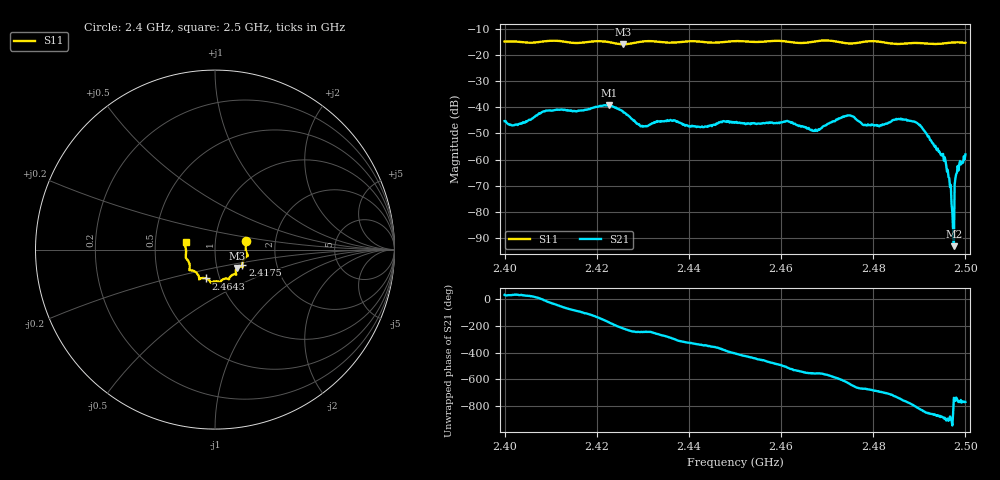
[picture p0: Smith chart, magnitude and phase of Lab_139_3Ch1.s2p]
# Hz S RI R 50
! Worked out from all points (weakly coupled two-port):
!   601 points, 2.4 GHz to 2.5 GHz, reference 50 ohm
!   highest |S21| = -39.22 dB at 2.4227 GHz (marker M1); lowest = -93.1 dB at 2.4975 GHz (marker M2)
!   lowest |S11| = -16.0 dB at 2.4257 GHz (marker M3), VSWR 1.38, Z = 62.4 - j13.1 ohm
!   |S11| at or under -10 dB: start of sweep to end of sweep
!   S12 and S22 are empty: the file has one direction only
!   S11 on the Smith chart (normalised r, x): 2.4 GHz: 1.41, +0.14; 2.4175 GHz: 1.34, -0.23; 2.4643 GHz: 0.86, -0.29; 2.5 GHz: 0.72, +0.06
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2.4e9  0.1731 0.0486  0.00448 0.00308  0 0  0 0
2.416667e9  0.1532 -0.0744  -0.000809 -0.00865  0 0  0 0
2.4175e9  0.1523 -0.0839  -0.00215 -0.0087  0 0  0 0
2.422667e9  0.1473 -0.0945  -0.0108 -0.00162  0 0  0 0
2.425667e9  0.1224 -0.1019  -0.00667 0.00502  0 0  0 0
2.429833e9  0.1172 -0.1355  -0.00192 0.00398  0 0  0 0
2.433333e9  0.1128 -0.1373  -0.000942 0.0053  0 0  0 0
2.442833e9  0.0707 -0.1625  0.00408 0.00136  0 0  0 0
2.45e9  0.0288 -0.1809  0.00369 -0.00368  0 0  0 0
2.464333e9  -0.05 -0.1609  -0.00425 1.05e-05  0 0  0 0
2.466667e9  -0.076 -0.1592  -0.00358 0.000985  0 0  0 0
2.4745e9  -0.1018 -0.1309  -0.000485 0.00696  0 0  0 0
2.478167e9  -0.1364 -0.1154  0.00296 0.00354  0 0  0 0
2.483333e9  -0.1408 -0.0899  0.00496 0.00116  0 0  0 0
2.4865e9  -0.1525 -0.0591  0.0046 -0.00355  0 0  0 0
2.490333e9  -0.1629 -0.0389  -0.00128 -0.00409  0 0  0 0
2.495333e9  -0.1648 0.0135  -0.000943 -0.000127  0 0  0 0
2.496333e9  -0.1679 0.0222  -0.000458 8.12e-05  0 0  0 0
2.497e9  -0.1697 0.027  -0.000139 2.09e-05  0 0  0 0
2.4975e9  -0.1705 0.0298  2.12e-05 -6.69e-06  0 0  0 0
2.498333e9  -0.1703 0.0343  0.000593 -0.000471  0 0  0 0
2.5e9  -0.164 0.0427  0.000833 -0.000936  0 0  0 0
